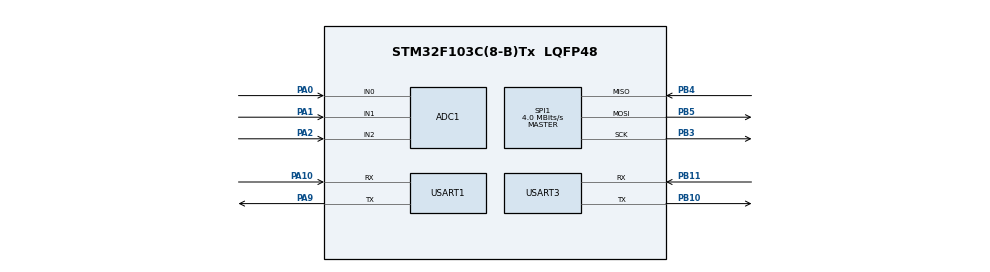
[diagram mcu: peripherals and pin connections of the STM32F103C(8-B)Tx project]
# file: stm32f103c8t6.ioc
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ADC1.Channel-17\#ChannelRegularConversion=ADC_CHANNEL_0
ADC1.Channel-18\#ChannelRegularConversion=ADC_CHANNEL_1
ADC1.Channel-19\#ChannelRegularConversion=ADC_CHANNEL_2
ADC1.ContinuousConvMode=ENABLE
ADC1.EnableRegularConversion=ENABLE
ADC1.NbrOfConversion=3
ADC1.NbrOfConversionFlag=1
ADC1.Rank-17\#ChannelRegularConversion=1
ADC1.Rank-18\#ChannelRegularConversion=2
ADC1.Rank-19\#ChannelRegularConversion=3
ADC1.SamplingTime-17\#ChannelRegularConversion=ADC_SAMPLETIME_239CYCLES_5
ADC1.SamplingTime-18\#ChannelRegularConversion=ADC_SAMPLETIME_239CYCLES_5
ADC1.SamplingTime-19\#ChannelRegularConversion=ADC_SAMPLETIME_239CYCLES_5
ADC1.master=1
Dma.ADC1.0.Direction=DMA_PERIPH_TO_MEMORY
Dma.ADC1.0.Instance=DMA1_Channel1
Dma.ADC1.0.MemDataAlignment=DMA_MDATAALIGN_HALFWORD
Dma.ADC1.0.MemInc=DMA_MINC_ENABLE
Dma.ADC1.0.Mode=DMA_CIRCULAR
Dma.ADC1.0.PeriphDataAlignment=DMA_PDATAALIGN_HALFWORD
Dma.ADC1.0.PeriphInc=DMA_PINC_DISABLE
Dma.ADC1.0.Priority=DMA_PRIORITY_LOW
Dma.Request0=ADC1
Mcu.Family=STM32F1
Mcu.Name=STM32F103C(8-B)Tx
Mcu.Package=LQFP48
NVIC.DMA1_Channel1_IRQn=true\:0\:0\:false\:false\:true\:false\:true\:true
NVIC.PriorityGroup=NVIC_PRIORITYGROUP_4
PA0-WKUP.Signal=ADCx_IN0
PA1.Signal=ADCx_IN1
PA10.Mode=Asynchronous
PA10.Signal=USART1_RX
PA13.Mode=Serial_Wire
PA13.Signal=SYS_JTMS-SWDIO
PA14.Mode=Serial_Wire
PA14.Signal=SYS_JTCK-SWCLK
PA2.Signal=ADCx_IN2
PA9.Mode=Asynchronous
PA9.Signal=USART1_TX
PB10.Mode=Asynchronous
PB10.Signal=USART3_TX
PB11.Mode=Asynchronous
PB11.Signal=USART3_RX
PB3.Mode=Full_Duplex_Master
PB3.Signal=SPI1_SCK
PB4.Mode=Full_Duplex_Master
PB4.Signal=SPI1_MISO
PB5.Mode=Full_Duplex_Master
PB5.Signal=SPI1_MOSI
ProjectManager.HeapSize=0x200
ProjectManager.StackSize=0x400
ProjectManager.TargetToolchain=STM32CubeIDE
RCC.APB1Freq_Value=8000000
RCC.APB2Freq_Value=8000000
SH.ADCx_IN0.0=ADC1_IN0,IN0
SH.ADCx_IN1.0=ADC1_IN1,IN1
SH.ADCx_IN2.0=ADC1_IN2,IN2
SPI1.CalculateBaudRate=4.0 MBits/s
SPI1.Direction=SPI_DIRECTION_2LINES
SPI1.Mode=SPI_MODE_MASTER
SPI1.VirtualType=VM_MASTER
USART1.VirtualMode=VM_ASYNC
USART3.VirtualMode=VM_ASYNC
board=custom

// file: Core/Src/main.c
/* USER CODE BEGIN Header */
/**
  ******************************************************************************
  * @file           : main.c
  * @brief          : Main program body
  ******************************************************************************
  * @attention
  *
  * Copyright (c) 2026 STMicroelectronics.
  * All rights reserved.
  *
  * This software is licensed under terms that can be found in the LICENSE file
  * in the root directory of this software component.
  * If no LICENSE file comes with this software, it is provided AS-IS.
  *
  ******************************************************************************
  */
/* USER CODE END Header */
#include "main.h"

/* USER CODE BEGIN Includes */
#include <string.h>
#include <stdio.h>
#include "ADC/adc_driver.h"
#include "TDS/tds.h"
#include "Turbidity/turbidity.h"
#include "PH/ph.h"
/* USER CODE END Includes */

/* USER CODE BEGIN PTD */
ADC_RawData_t raw = {0};
TDS_Data_t tds = {0};
TURBIDITY_Data_t tur = {0};
PH_Data_t ph = {0};
/* USER CODE END PTD */

/* USER CODE BEGIN PV */
ADC_HandleTypeDef hadc1;
DMA_HandleTypeDef hdma_adc1;

SPI_HandleTypeDef hspi1;

UART_HandleTypeDef huart1;
UART_HandleTypeDef huart3;
/* USER CODE END PV */

void SystemClock_Config(void);
static void MX_GPIO_Init(void);
static void MX_DMA_Init(void);
static void MX_SPI1_Init(void);
static void MX_USART1_UART_Init(void);
static void MX_USART3_UART_Init(void);
static void MX_ADC1_Init(void);

int main(void)
{

  /* MCU Configuration--------------------------------------------------------*/

  /* Reset of all peripherals, Initializes the Flash interface and the Systick. */
  HAL_Init();

  /* Configure the system clock */
  SystemClock_Config();

  /* Initialize all configured peripherals */
  MX_GPIO_Init();
  MX_DMA_Init();
  MX_SPI1_Init();
  MX_USART1_UART_Init();
  MX_USART3_UART_Init();
  MX_ADC1_Init();
  /* USER CODE BEGIN 2 */
  ADC_Driver_Init();
  PH_Init();

  char uart_buf[80];
  char uart_buf_2[80];
  /* USER CODE END 2 */

  /* Infinite loop */
  /* USER CODE BEGIN WHILE */
  while (1)
  {
	  float ph_sum = 0.0f;
	  float tds_sum = 0.0f;
	  float tur_sum = 0.0f;

	  for(int i=0;i<10;i++) {
		  ADC_GetRaw(&raw);

		  PH_Calc(raw.ph, &ph);
		  TDS_Calc(raw.tds, &tds);
		  TURBIDITY_Calc(raw.turbidity, &tur);

		  ph_sum += ph.ph;
		  tds_sum += tds.tds;
		  tur_sum += tur.ntu;

		  HAL_Delay(5);
	  }

	  float ph_avg  = ph_sum  / 10.0f;
	  float tds_avg = tds_sum / 10.0f;
	  float tur_avg = tur_sum / 10.0f;

	  // For ESP8266
	  snprintf(
	      uart_buf,
	      sizeof(uart_buf),
	      "UPLOAD:ph=%.2f;tds=%.2f;turbidity=%.2f\r\n",
	      ph_avg,
	      tds_avg,
	      tur_avg
	  );

	  // For FireWater （VOFA+)
	  snprintf(
	  	      uart_buf_2,
	  	      sizeof(uart_buf_2),
	  	      "ph-tds-turbidity: %.2f,%.2f,%.2f\r\n",
	  	      ph_avg,
	  	      tds_avg,
	  	      tur_avg
	  	  );

	  HAL_UART_Transmit(&huart3,
	                    (uint8_t*)uart_buf,
	                    strlen(uart_buf),
	                    100);
	  HAL_UART_Transmit(&huart1,
	                    (uint8_t*)uart_buf_2,
	                    strlen(uart_buf_2),
	                    100);

	  HAL_Delay(500);
    /* USER CODE END WHILE */

  }
}

void SystemClock_Config(void)
{
  RCC_OscInitTypeDef RCC_OscInitStruct = {0};
  RCC_ClkInitTypeDef RCC_ClkInitStruct = {0};
  RCC_PeriphCLKInitTypeDef PeriphClkInit = {0};

  /** Initializes the RCC Oscillators according to the specified parameters
  * in the RCC_OscInitTypeDef structure.
  */
  RCC_OscInitStruct.OscillatorType = RCC_OSCILLATORTYPE_HSI;
  RCC_OscInitStruct.HSIState = RCC_HSI_ON;
  RCC_OscInitStruct.HSICalibrationValue = RCC_HSICALIBRATION_DEFAULT;
  RCC_OscInitStruct.PLL.PLLState = RCC_PLL_NONE;
  if (HAL_RCC_OscConfig(&RCC_OscInitStruct) != HAL_OK)
  {
    Error_Handler();
  }

  /** Initializes the CPU, AHB and APB buses clocks
  */
  RCC_ClkInitStruct.ClockType = RCC_CLOCKTYPE_HCLK|RCC_CLOCKTYPE_SYSCLK
                              |RCC_CLOCKTYPE_PCLK1|RCC_CLOCKTYPE_PCLK2;
  RCC_ClkInitStruct.SYSCLKSource = RCC_SYSCLKSOURCE_HSI;
  RCC_ClkInitStruct.AHBCLKDivider = RCC_SYSCLK_DIV1;
  RCC_ClkInitStruct.APB1CLKDivider = RCC_HCLK_DIV1;
  RCC_ClkInitStruct.APB2CLKDivider = RCC_HCLK_DIV1;

  if (HAL_RCC_ClockConfig(&RCC_ClkInitStruct, FLASH_LATENCY_0) != HAL_OK)
  {
    Error_Handler();
  }
  PeriphClkInit.PeriphClockSelection = RCC_PERIPHCLK_ADC;
  PeriphClkInit.AdcClockSelection = RCC_ADCPCLK2_DIV2;
  if (HAL_RCCEx_PeriphCLKConfig(&PeriphClkInit) != HAL_OK)
  {
    Error_Handler();
  }
}

static void MX_ADC1_Init(void)
{

  ADC_ChannelConfTypeDef sConfig = {0};

  /** Common config
  */
  hadc1.Instance = ADC1;
  hadc1.Init.ScanConvMode = ADC_SCAN_ENABLE;
  hadc1.Init.ContinuousConvMode = ENABLE;
  hadc1.Init.DiscontinuousConvMode = DISABLE;
  hadc1.Init.ExternalTrigConv = ADC_SOFTWARE_START;
  hadc1.Init.DataAlign = ADC_DATAALIGN_RIGHT;
  hadc1.Init.NbrOfConversion = 3;
  if (HAL_ADC_Init(&hadc1) != HAL_OK)
  {
    Error_Handler();
  }

  /** Configure Regular Channel
  */
  sConfig.Channel = ADC_CHANNEL_0;
  sConfig.Rank = ADC_REGULAR_RANK_1;
  sConfig.SamplingTime = ADC_SAMPLETIME_239CYCLES_5;
  if (HAL_ADC_ConfigChannel(&hadc1, &sConfig) != HAL_OK)
  {
    Error_Handler();
  }

  /** Configure Regular Channel
  */
  sConfig.Channel = ADC_CHANNEL_1;
  sConfig.Rank = ADC_REGULAR_RANK_2;
  if (HAL_ADC_ConfigChannel(&hadc1, &sConfig) != HAL_OK)
  {
    Error_Handler();
  }

  /** Configure Regular Channel
  */
  sConfig.Channel = ADC_CHANNEL_2;
  sConfig.Rank = ADC_REGULAR_RANK_3;
  if (HAL_ADC_ConfigChannel(&hadc1, &sConfig) != HAL_OK)
  {
    Error_Handler();
  }

}

static void MX_SPI1_Init(void)
{

  /* SPI1 parameter configuration*/
  hspi1.Instance = SPI1;
  hspi1.Init.Mode = SPI_MODE_MASTER;
  hspi1.Init.Direction = SPI_DIRECTION_2LINES;
  hspi1.Init.DataSize = SPI_DATASIZE_8BIT;
  hspi1.Init.CLKPolarity = SPI_POLARITY_LOW;
  hspi1.Init.CLKPhase = SPI_PHASE_1EDGE;
  hspi1.Init.NSS = SPI_NSS_SOFT;
  hspi1.Init.BaudRatePrescaler = SPI_BAUDRATEPRESCALER_2;
  hspi1.Init.FirstBit = SPI_FIRSTBIT_MSB;
  hspi1.Init.TIMode = SPI_TIMODE_DISABLE;
  hspi1.Init.CRCCalculation = SPI_CRCCALCULATION_DISABLE;
  hspi1.Init.CRCPolynomial = 10;
  if (HAL_SPI_Init(&hspi1) != HAL_OK)
  {
    Error_Handler();
  }

}

static void MX_USART1_UART_Init(void)
{

  huart1.Instance = USART1;
  huart1.Init.BaudRate = 115200;
  huart1.Init.WordLength = UART_WORDLENGTH_8B;
  huart1.Init.StopBits = UART_STOPBITS_1;
  huart1.Init.Parity = UART_PARITY_NONE;
  huart1.Init.Mode = UART_MODE_TX_RX;
  huart1.Init.HwFlowCtl = UART_HWCONTROL_NONE;
  huart1.Init.OverSampling = UART_OVERSAMPLING_16;
  if (HAL_UART_Init(&huart1) != HAL_OK)
  {
    Error_Handler();
  }

}

static void MX_USART3_UART_Init(void)
{

  huart3.Instance = USART3;
  huart3.Init.BaudRate = 115200;
  huart3.Init.WordLength = UART_WORDLENGTH_8B;
  huart3.Init.StopBits = UART_STOPBITS_1;
  huart3.Init.Parity = UART_PARITY_NONE;
  huart3.Init.Mode = UART_MODE_TX_RX;
  huart3.Init.HwFlowCtl = UART_HWCONTROL_NONE;
  huart3.Init.OverSampling = UART_OVERSAMPLING_16;
  if (HAL_UART_Init(&huart3) != HAL_OK)
  {
    Error_Handler();
  }

}

static void MX_DMA_Init(void)
{

  /* DMA controller clock enable */
  __HAL_RCC_DMA1_CLK_ENABLE();

  /* DMA interrupt init */
  /* DMA1_Channel1_IRQn interrupt configuration */
  HAL_NVIC_SetPriority(DMA1_Channel1_IRQn, 0, 0);
  HAL_NVIC_EnableIRQ(DMA1_Channel1_IRQn);

}

static void MX_GPIO_Init(void)
{

  /* GPIO Ports Clock Enable */
  __HAL_RCC_GPIOA_CLK_ENABLE();
  __HAL_RCC_GPIOB_CLK_ENABLE();

}

void Error_Handler(void)
{
  __disable_irq();
  while (1)
  {
  }
}
